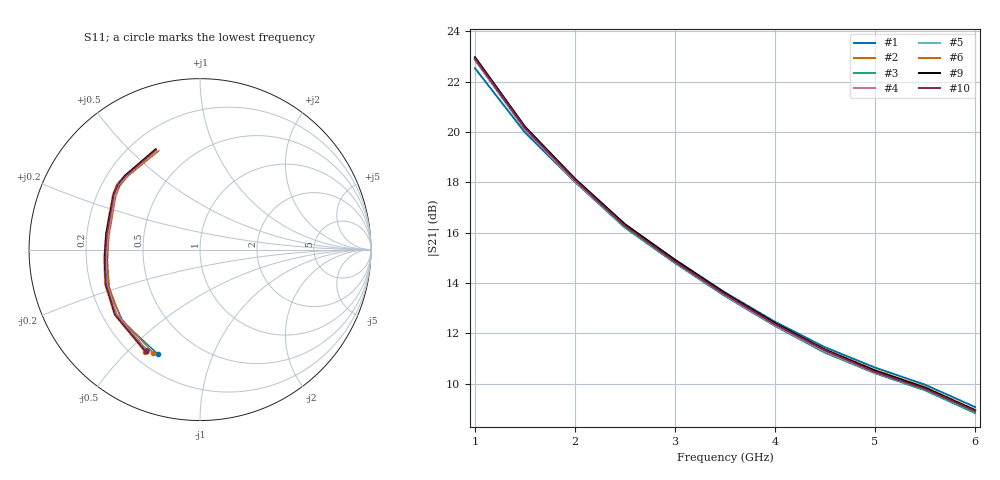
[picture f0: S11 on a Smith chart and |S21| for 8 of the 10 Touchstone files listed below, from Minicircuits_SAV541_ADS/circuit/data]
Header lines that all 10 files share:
# hz S ma R 50
! 2 Port Network Data from SP1.SP block
! freq  magS11  angS11  magS21  angS21  magS12  angS12  magS22  angS22
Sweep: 1 GHz to 6 GHz
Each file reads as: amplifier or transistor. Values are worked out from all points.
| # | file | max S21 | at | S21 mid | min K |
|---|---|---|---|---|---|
| 1 | SAV541_D1_3V_60mA.s2p | 22.5 dB | 1 GHz | 13.6 dB at 3.5 GHz | 0.51 |
| 2 | SAV541_D1_4V_60mA.s2p | 22.9 dB | 1 GHz | 13.6 dB at 3.5 GHz | 0.53 |
| 3 | SAV541_D2_3V_60mA.s2p | 22.9 dB | 1 GHz | 13.5 dB at 3.5 GHz | 0.54 |
| 4 | SAV541_D2_4V_60mA.s2p | 22.9 dB | 1 GHz | 13.5 dB at 3.5 GHz | 0.53 |
| 5 | SAV541_D3_3V_60mA.s2p | 23.0 dB | 1 GHz | 13.6 dB at 3.5 GHz | 0.53 |
| 6 | SAV541_D3_4V_60mA.s2p | 22.9 dB | 1 GHz | 13.6 dB at 3.5 GHz | 0.52 |
| 7 | SAV541_D4_3V_60mA.s2p | 23.0 dB | 1 GHz | 13.6 dB at 3.5 GHz | 0.53 |
| 8 | SAV541_D4_4V_60mA.s2p | 22.9 dB | 1 GHz | 13.6 dB at 3.5 GHz | 0.53 |
| 9 | SAV541_D5_3V_60mA.s2p | 23.0 dB | 1 GHz | 13.6 dB at 3.5 GHz | 0.52 |
| 10 | SAV541_D5_4V_60mA.s2p | 22.9 dB | 1 GHz | 13.5 dB at 3.5 GHz | 0.52 |
